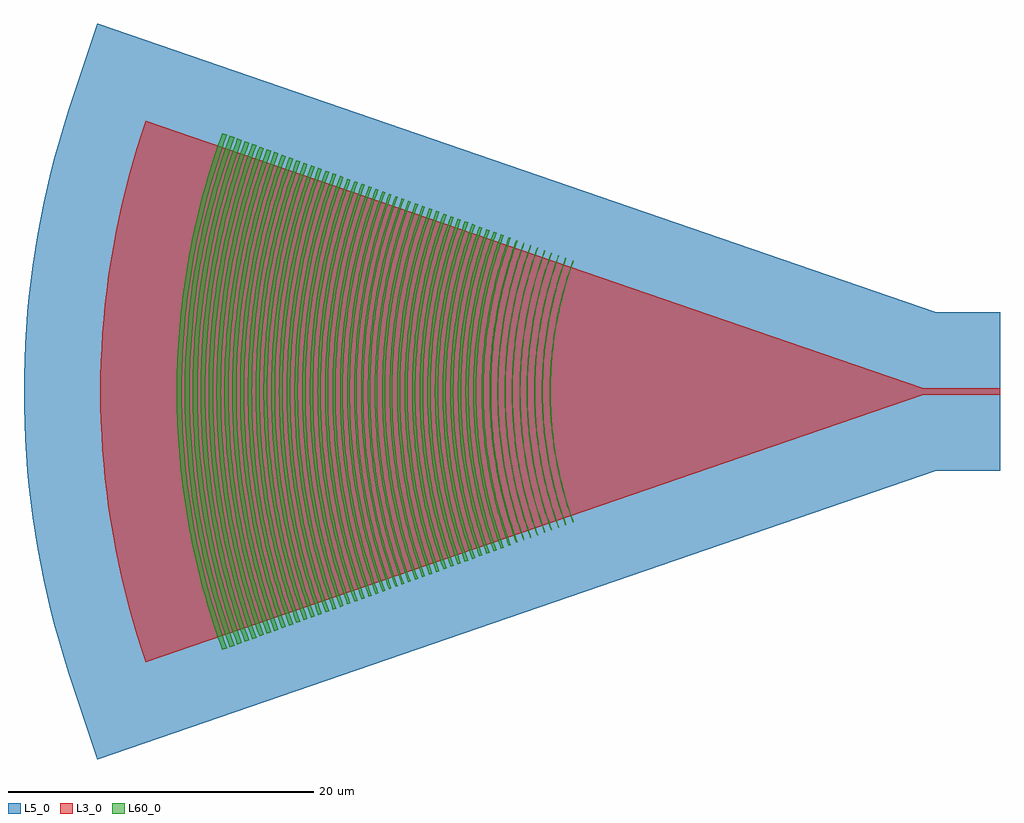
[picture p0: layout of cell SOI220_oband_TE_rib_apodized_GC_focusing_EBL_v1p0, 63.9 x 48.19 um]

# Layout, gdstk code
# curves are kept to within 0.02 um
import gdstk
lib = gdstk.Library(unit=1e-6, precision=1e-09)
def P(c, l, *ps):  # polygons
    for p in ps: c.add(gdstk.Polygon(p, *l))
L3_0 = (3, 0)
L5_0 = (5, 0)
L60_0 = (60, 0)

soi220_oband_te_rib_apod = lib.new_cell('SOI220_oband_TE_rib_apodized_GC_focusing_EBL_v1p0')
P(soi220_oband_te_rib_apod, L3_0, [(-55.936,-17.739),(-56.523,-15.93),(-57.286,-13.181),(-57.903,-10.396),(-58.233,-8.523),(-58.498,-6.64),(-58.697,-4.749),(-58.871,-1.901),(-58.904,0),(-58.871,1.901),(-58.697,4.749),(-58.498,6.64),(-58.233,8.523),(-57.903,10.396),(-57.286,13.181),(-56.523,15.93),(-55.936,17.739),(-5,0.2),(0,0.2),(0,-0.2),(-5,-0.2)])
P(soi220_oband_te_rib_apod, L5_0, [(-59.036,-24.094),(-59.096,-24.065),(-61.305,-17.392),(-62.137,-14.392),(-62.811,-11.35),(-63.325,-8.28),(-63.579,-6.218),(-63.822,-3.115),(-63.904,0),(-63.822,3.115),(-63.579,6.218),(-63.325,8.28),(-62.811,11.35),(-62.381,13.379),(-61.6,16.396),(-60.993,18.38),(-59.096,24.065),(-59.036,24.094),(-4.163,5.2),(0,5.2),(0,-5.2),(-4.163,-5.2)])
P(soi220_oband_te_rib_apod, L60_0, [(-27.967,-8.571),(-28.114,-8.159),(-28.319,-7.536),(-28.509,-6.908),(-28.625,-6.486),(-28.885,-5.424),(-29.019,-4.781),(-29.098,-4.351),(-29.203,-3.704),(-29.293,-3.054),(-29.384,-2.184),(-29.455,-1.093),(-29.479,0),(-29.455,1.093),(-29.384,2.184),(-29.293,3.054),(-29.203,3.704),(-29.098,4.351),(-29.019,4.781),(-28.885,5.424),(-28.625,6.486),(-28.509,6.908),(-28.319,7.536),(-28.114,8.159),(-27.967,8.571),(-27.911,8.551),(-28.127,7.933),(-28.327,7.309),(-28.51,6.681),(-28.676,6.048),(-28.873,5.198),(-29.076,4.126),(-29.233,3.047),(-29.324,2.179),(-29.395,1.09),(-29.419,0),(-29.395,-1.09),(-29.324,-2.179),(-29.233,-3.047),(-29.076,-4.126),(-28.873,-5.198),(-28.676,-6.048),(-28.51,-6.681),(-28.327,-7.309),(-28.127,-7.933),(-27.911,-8.551)],
  [(-28.455,-8.748),(-28.604,-8.328),(-28.813,-7.691),(-28.944,-7.265),(-29.125,-6.621),(-29.391,-5.536),(-29.484,-5.099),(-29.608,-4.441),(-29.716,-3.781),(-29.778,-3.339),(-29.833,-2.896),(-29.9,-2.229),(-29.973,-1.116),(-29.997,0),(-29.973,1.116),(-29.9,2.229),(-29.833,2.896),(-29.778,3.339),(-29.716,3.781),(-29.608,4.441),(-29.484,5.099),(-29.391,5.536),(-29.125,6.621),(-28.944,7.265),(-28.813,7.691),(-28.604,8.328),(-28.455,8.748),(-28.398,8.728),(-28.618,8.097),(-28.822,7.461),(-29.009,6.819),(-29.179,6.173),(-29.425,5.087),(-29.587,4.212),(-29.719,3.331),(-29.84,2.224),(-29.913,1.113),(-29.937,0),(-29.913,-1.113),(-29.84,-2.224),(-29.719,-3.331),(-29.587,-4.212),(-29.425,-5.087),(-29.179,-6.173),(-29.009,-6.819),(-28.822,-7.461),(-28.618,-8.097),(-28.398,-8.728)],
  [(-28.925,-8.919),(-29.291,-7.842),(-29.425,-7.407),(-29.609,-6.749),(-29.723,-6.31),(-29.88,-5.645),(-29.975,-5.199),(-30.102,-4.528),(-30.211,-3.855),(-30.304,-3.178),(-30.399,-2.273),(-30.435,-1.819),(-30.473,-1.138),(-30.489,-0.683),(-30.498,0),(-30.489,0.683),(-30.473,1.138),(-30.435,1.819),(-30.399,2.273),(-30.304,3.178),(-30.211,3.855),(-30.102,4.528),(-29.975,5.199),(-29.88,5.645),(-29.723,6.31),(-29.609,6.749),(-29.425,7.407),(-29.291,7.842),(-28.925,8.919),(-28.869,8.899),(-29.093,8.256),(-29.301,7.607),(-29.492,6.953),(-29.665,6.295),(-29.916,5.187),(-30.081,4.294),(-30.185,3.621),(-30.244,3.171),(-30.358,2.041),(-30.422,0.908),(-30.438,0),(-30.422,-0.908),(-30.358,-2.041),(-30.244,-3.171),(-30.185,-3.621),(-30.081,-4.294),(-29.916,-5.187),(-29.665,-6.295),(-29.492,-6.953),(-29.301,-7.607),(-29.093,-8.256),(-28.869,-8.899)],
  [(-29.387,-9.087),(-29.543,-8.651),(-29.76,-7.99),(-29.896,-7.547),(-30.085,-6.878),(-30.361,-5.751),(-30.502,-5.07),(-30.586,-4.614),(-30.663,-4.156),(-30.762,-3.468),(-30.82,-3.008),(-30.889,-2.316),(-30.941,-1.622),(-30.965,-1.159),(-30.981,-0.696),(-30.99,0),(-30.981,0.696),(-30.965,1.159),(-30.941,1.622),(-30.889,2.316),(-30.82,3.008),(-30.762,3.468),(-30.663,4.156),(-30.586,4.614),(-30.502,5.07),(-30.361,5.751),(-30.085,6.878),(-29.896,7.547),(-29.76,7.99),(-29.543,8.651),(-29.387,9.087),(-29.331,9.067),(-29.56,8.412),(-29.772,7.751),(-29.966,7.085),(-30.143,6.414),(-30.351,5.512),(-30.443,5.059),(-30.566,4.376),(-30.703,3.46),(-30.76,3.001),(-30.829,2.311),(-30.881,1.618),(-30.905,1.156),(-30.926,0.463),(-30.93,0),(-30.926,-0.463),(-30.905,-1.156),(-30.881,-1.618),(-30.829,-2.311),(-30.76,-3.001),(-30.703,-3.46),(-30.566,-4.376),(-30.443,-5.059),(-30.351,-5.512),(-30.143,-6.414),(-29.966,-7.085),(-29.772,-7.751),(-29.56,-8.412),(-29.331,-9.067)],
  [(-29.829,-9.248),(-30.062,-8.58),(-30.207,-8.131),(-30.346,-7.68),(-30.538,-6.999),(-30.656,-6.542),(-30.818,-5.853),(-30.916,-5.391),(-31.048,-4.695),(-31.162,-3.997),(-31.258,-3.295),(-31.356,-2.356),(-31.409,-1.651),(-31.433,-1.18),(-31.45,-0.708),(-31.459,0),(-31.45,0.708),(-31.433,1.18),(-31.409,1.651),(-31.356,2.356),(-31.258,3.295),(-31.162,3.997),(-31.048,4.695),(-30.916,5.391),(-30.818,5.853),(-30.656,6.542),(-30.538,6.999),(-30.346,7.68),(-30.207,8.131),(-30.062,8.58),(-29.829,9.248),(-29.772,9.228),(-30.005,8.561),(-30.22,7.888),(-30.418,7.21),(-30.598,6.527),(-30.708,6.069),(-30.857,5.379),(-31.029,4.453),(-31.103,3.988),(-31.198,3.288),(-31.275,2.586),(-31.316,2.117),(-31.349,1.647),(-31.383,0.942),(-31.399,0),(-31.383,-0.942),(-31.349,-1.647),(-31.316,-2.117),(-31.275,-2.586),(-31.198,-3.288),(-31.103,-3.988),(-31.029,-4.453),(-30.857,-5.379),(-30.708,-6.069),(-30.598,-6.527),(-30.418,-7.21),(-30.22,-7.888),(-30.005,-8.561),(-29.772,-9.228)],
  [(-30.302,-9.421),(-30.464,-8.967),(-30.689,-8.283),(-30.83,-7.823),(-31.025,-7.13),(-31.146,-6.663),(-31.311,-5.962),(-31.458,-5.256),(-31.545,-4.783),(-31.625,-4.309),(-31.728,-3.596),(-31.787,-3.118),(-31.859,-2.4),(-31.913,-1.682),(-31.938,-1.202),(-31.955,-0.721),(-31.964,0),(-31.955,0.721),(-31.938,1.202),(-31.913,1.682),(-31.859,2.4),(-31.787,3.118),(-31.728,3.596),(-31.625,4.309),(-31.545,4.783),(-31.458,5.256),(-31.311,5.962),(-31.146,6.663),(-31.025,7.13),(-30.83,7.823),(-30.689,8.283),(-30.464,8.967),(-30.302,9.421),(-30.246,9.4),(-30.484,8.721),(-30.703,8.036),(-30.904,7.345),(-31.088,6.649),(-31.2,6.183),(-31.352,5.48),(-31.527,4.536),(-31.637,3.825),(-31.699,3.35),(-31.753,2.873),(-31.819,2.156),(-31.878,1.199),(-31.895,0.719),(-31.904,0),(-31.895,-0.719),(-31.878,-1.199),(-31.819,-2.156),(-31.753,-2.873),(-31.699,-3.35),(-31.637,-3.825),(-31.527,-4.536),(-31.352,-5.48),(-31.2,-6.183),(-31.088,-6.649),(-30.904,-7.345),(-30.703,-8.036),(-30.484,-8.721),(-30.246,-9.4)],
  [(-30.744,-9.581),(-30.908,-9.12),(-31.137,-8.424),(-31.281,-7.957),(-31.479,-7.251),(-31.602,-6.778),(-31.77,-6.064),(-31.872,-5.585),(-32.008,-4.864),(-32.089,-4.382),(-32.194,-3.657),(-32.281,-2.928),(-32.328,-2.441),(-32.382,-1.711),(-32.407,-1.222),(-32.43,-0.489),(-32.434,0),(-32.43,0.489),(-32.407,1.222),(-32.382,1.711),(-32.328,2.441),(-32.281,2.928),(-32.194,3.657),(-32.089,4.382),(-32.008,4.864),(-31.872,5.585),(-31.77,6.064),(-31.602,6.778),(-31.479,7.251),(-31.281,7.957),(-31.137,8.424),(-30.908,9.12),(-30.744,9.581),(-30.688,9.561),(-30.929,8.87),(-31.152,8.173),(-31.357,7.471),(-31.544,6.763),(-31.658,6.289),(-31.813,5.573),(-31.991,4.614),(-32.102,3.891),(-32.166,3.407),(-32.268,2.436),(-32.322,1.707),(-32.347,1.219),(-32.37,0.488),(-32.374,0),(-32.37,-0.488),(-32.347,-1.219),(-32.322,-1.707),(-32.268,-2.436),(-32.166,-3.407),(-32.102,-3.891),(-31.991,-4.614),(-31.813,-5.573),(-31.658,-6.289),(-31.544,-6.763),(-31.357,-7.471),(-31.152,-8.173),(-30.929,-8.87),(-30.688,-9.561)],
  [(-31.193,-9.744),(-31.359,-9.277),(-31.592,-8.568),(-31.808,-7.853),(-31.94,-7.374),(-32.124,-6.652),(-32.289,-5.924),(-32.478,-4.948),(-32.598,-4.211),(-32.667,-3.719),(-32.728,-3.225),(-32.803,-2.483),(-32.842,-1.987),(-32.884,-1.243),(-32.907,-0.497),(-32.911,0),(-32.907,0.497),(-32.884,1.243),(-32.842,1.987),(-32.803,2.483),(-32.728,3.225),(-32.667,3.719),(-32.598,4.211),(-32.478,4.948),(-32.289,5.924),(-32.124,6.652),(-31.94,7.374),(-31.808,7.853),(-31.592,8.568),(-31.359,9.277),(-31.193,9.744),(-31.134,9.723),(-31.379,9.021),(-31.606,8.312),(-31.814,7.597),(-32.004,6.878),(-32.227,5.911),(-32.326,5.425),(-32.458,4.692),(-32.605,3.711),(-32.74,2.478),(-32.779,1.983),(-32.821,1.24),(-32.844,0.496),(-32.848,0),(-32.844,-0.496),(-32.821,-1.24),(-32.779,-1.983),(-32.74,-2.478),(-32.605,-3.711),(-32.458,-4.692),(-32.326,-5.425),(-32.227,-5.911),(-32.004,-6.878),(-31.814,-7.597),(-31.606,-8.312),(-31.379,-9.021),(-31.134,-9.723)],
  [(-31.673,-9.919),(-32.079,-8.721),(-32.434,-7.507),(-32.735,-6.278),(-32.981,-5.036),(-33.174,-3.786),(-33.312,-2.528),(-33.394,-1.265),(-33.422,0),(-33.394,1.265),(-33.312,2.528),(-33.174,3.786),(-32.981,5.036),(-32.735,6.278),(-32.434,7.507),(-32.079,8.721),(-31.673,9.919),(-31.579,9.885),(-31.984,8.691),(-32.337,7.481),(-32.637,6.256),(-32.926,4.77),(-33.107,3.522),(-33.233,2.268),(-33.304,1.009),(-33.322,0),(-33.304,-1.009),(-33.233,-2.268),(-33.107,-3.522),(-32.926,-4.77),(-32.637,-6.256),(-32.337,-7.481),(-31.984,-8.691),(-31.579,-9.885)],
  [(-32.162,-10.097),(-32.577,-8.878),(-32.937,-7.642),(-33.243,-6.39),(-33.494,-5.127),(-33.691,-3.854),(-33.831,-2.573),(-33.915,-1.288),(-33.943,0),(-33.915,1.288),(-33.831,2.573),(-33.691,3.854),(-33.494,5.127),(-33.243,6.39),(-32.937,7.642),(-32.577,8.878),(-32.162,10.097),(-32.04,10.053),(-32.453,8.839),(-32.877,7.36),(-33.171,6.111),(-33.41,4.851),(-33.562,3.837),(-33.701,2.562),(-33.785,1.282),(-33.813,0),(-33.785,-1.282),(-33.701,-2.562),(-33.562,-3.837),(-33.41,-4.851),(-33.171,-6.111),(-32.877,-7.36),(-32.453,-8.839),(-32.04,-10.053)],
  [(-32.678,-10.284),(-33.019,-9.293),(-33.398,-8.037),(-33.778,-6.509),(-34.034,-5.222),(-34.233,-3.925),(-34.376,-2.621),(-34.463,-1.312),(-34.491,0),(-34.463,1.312),(-34.376,2.621),(-34.233,3.925),(-34.034,5.222),(-33.778,6.509),(-33.398,8.037),(-33.019,9.293),(-32.678,10.284),(-32.489,10.216),(-32.985,8.733),(-33.339,7.479),(-33.637,6.211),(-33.922,4.673),(-34.098,3.381),(-34.198,2.344),(-34.262,1.303),(-34.29,0),(-34.262,-1.303),(-34.198,-2.344),(-34.098,-3.381),(-33.922,-4.673),(-33.637,-6.211),(-33.339,-7.479),(-32.985,-8.733),(-32.489,-10.216)],
  [(-33.157,-10.458),(-33.586,-9.196),(-33.959,-7.915),(-34.276,-6.618),(-34.537,-5.31),(-34.739,-3.993),(-34.884,-2.666),(-34.972,-1.335),(-35.001,0),(-34.972,1.335),(-34.884,2.666),(-34.739,3.993),(-34.537,5.31),(-34.276,6.618),(-33.959,7.915),(-33.586,9.196),(-33.157,10.458),(-32.954,10.386),(-33.38,9.131),(-33.818,7.603),(-34.175,6.054),(-34.411,4.75),(-34.559,3.701),(-34.691,2.382),(-34.767,1.06),(-34.785,0),(-34.767,-1.06),(-34.691,-2.382),(-34.559,-3.701),(-34.411,-4.75),(-34.175,-6.054),(-33.818,-7.603),(-33.38,-9.131),(-32.954,-10.386)],
  [(-33.622,-10.628),(-34.058,-9.345),(-34.437,-8.043),(-34.759,-6.726),(-35.024,-5.396),(-35.23,-4.057),(-35.378,-2.709),(-35.467,-1.355),(-35.496,0),(-35.467,1.355),(-35.378,2.709),(-35.23,4.057),(-35.024,5.396),(-34.759,6.726),(-34.437,8.043),(-34.058,9.345),(-33.622,10.628),(-33.422,10.556),(-33.855,9.281),(-34.3,7.728),(-34.609,6.417),(-34.903,4.828),(-35.085,3.494),(-35.188,2.422),(-35.254,1.346),(-35.283,0),(-35.254,-1.346),(-35.188,-2.422),(-35.085,-3.494),(-34.903,-4.828),(-34.609,-6.417),(-34.3,-7.728),(-33.855,-9.281),(-33.422,-10.556)],
  [(-34.091,-10.8),(-34.534,-9.495),(-34.92,-8.173),(-35.248,-6.835),(-35.516,-5.484),(-35.726,-4.121),(-35.876,-2.752),(-35.966,-1.377),(-35.996,0),(-35.966,1.377),(-35.876,2.752),(-35.726,4.121),(-35.516,5.484),(-35.248,6.835),(-34.92,8.173),(-34.534,9.495),(-34.091,10.8),(-33.893,10.728),(-34.333,9.432),(-34.786,7.853),(-35.1,6.521),(-35.399,4.907),(-35.551,3.823),(-35.688,2.461),(-35.766,1.095),(-35.785,0),(-35.766,-1.095),(-35.688,-2.461),(-35.551,-3.823),(-35.399,-4.907),(-35.1,-6.521),(-34.786,-7.853),(-34.333,-9.432),(-33.893,-10.728)],
  [(-34.562,-10.97),(-35.011,-9.646),(-35.403,-8.302),(-35.736,-6.943),(-36.009,-5.571),(-36.221,-4.187),(-36.374,-2.796),(-36.466,-1.4),(-36.496,0),(-36.466,1.4),(-36.374,2.796),(-36.221,4.187),(-36.009,5.571),(-35.736,6.943),(-35.403,8.302),(-35.011,9.646),(-34.562,10.97),(-34.359,10.897),(-34.888,9.315),(-35.265,7.977),(-35.584,6.624),(-35.888,4.984),(-36.043,3.883),(-36.182,2.5),(-36.261,1.112),(-36.28,0),(-36.261,-1.112),(-36.182,-2.5),(-36.043,-3.883),(-35.888,-4.984),(-35.584,-6.624),(-35.265,-7.977),(-34.888,-9.315),(-34.359,-10.897)],
  [(-35.031,-11.142),(-35.488,-9.796),(-35.886,-8.431),(-36.224,-7.051),(-36.501,-5.657),(-36.717,-4.252),(-36.872,-2.839),(-36.965,-1.421),(-36.996,0),(-36.965,1.421),(-36.872,2.839),(-36.717,4.252),(-36.501,5.657),(-36.224,7.051),(-35.886,8.431),(-35.488,9.796),(-35.031,11.142),(-34.827,11.068),(-35.365,9.461),(-35.748,8.102),(-36.072,6.728),(-36.381,5.062),(-36.538,3.944),(-36.679,2.539),(-36.748,1.412),(-36.779,0),(-36.748,-1.412),(-36.679,-2.539),(-36.538,-3.944),(-36.381,-5.062),(-36.072,-6.728),(-35.748,-8.102),(-35.365,-9.461),(-34.827,-11.068)],
  [(-35.501,-11.312),(-35.965,-9.946),(-36.369,-8.561),(-36.712,-7.16),(-36.994,-5.744),(-37.213,-4.318),(-37.37,-2.883),(-37.465,-1.443),(-37.496,0),(-37.465,1.443),(-37.37,2.883),(-37.213,4.318),(-36.994,5.744),(-36.712,7.16),(-36.369,8.561),(-35.965,9.946),(-35.501,11.312),(-35.294,11.238),(-35.755,9.88),(-36.229,8.227),(-36.558,6.831),(-36.871,5.14),(-37.065,3.72),(-37.175,2.578),(-37.245,1.433),(-37.276,0),(-37.245,-1.433),(-37.175,-2.578),(-37.065,-3.72),(-36.871,-5.14),(-36.558,-6.831),(-36.229,-8.227),(-35.755,-9.88),(-35.294,-11.238)],
  [(-35.971,-11.483),(-36.442,-10.097),(-36.852,-8.69),(-37.2,-7.267),(-37.486,-5.831),(-37.709,-4.383),(-37.868,-2.926),(-37.964,-1.465),(-37.996,0),(-37.964,1.465),(-37.868,2.926),(-37.709,4.383),(-37.486,5.831),(-37.2,7.267),(-36.852,8.69),(-36.442,10.097),(-35.971,11.483),(-35.765,11.409),(-36.233,10.031),(-36.714,8.352),(-37.048,6.936),(-37.366,5.218),(-37.563,3.776),(-37.674,2.617),(-37.757,1.164),(-37.777,0),(-37.757,-1.164),(-37.674,-2.617),(-37.563,-3.776),(-37.366,-5.218),(-37.048,-6.936),(-36.714,-8.352),(-36.233,-10.031),(-35.765,-11.409)],
  [(-36.436,-11.653),(-36.914,-10.246),(-37.33,-8.819),(-37.683,-7.375),(-37.974,-5.916),(-38.199,-4.447),(-38.361,-2.97),(-38.459,-1.486),(-38.491,0),(-38.459,1.486),(-38.361,2.97),(-38.199,4.447),(-37.974,5.916),(-37.683,7.375),(-37.33,8.819),(-36.914,10.246),(-36.436,11.653),(-36.234,11.58),(-36.797,9.899),(-37.198,8.477),(-37.536,7.039),(-37.859,5.296),(-38.024,4.126),(-38.172,2.656),(-38.244,1.477),(-38.276,0),(-38.244,-1.477),(-38.172,-2.656),(-38.024,-4.126),(-37.859,-5.296),(-37.536,-7.039),(-37.198,-8.477),(-36.797,-9.899),(-36.234,-11.58)],
  [(-36.9,-11.821),(-37.384,-10.394),(-37.806,-8.946),(-38.164,-7.481),(-38.459,-6.002),(-38.688,-4.512),(-38.852,-3.012),(-38.951,-1.508),(-38.984,0),(-38.951,1.508),(-38.852,3.012),(-38.688,4.512),(-38.459,6.002),(-38.164,7.481),(-37.806,8.946),(-37.384,10.394),(-36.9,11.821),(-36.712,11.754),(-37.193,10.334),(-37.689,8.604),(-38.033,7.145),(-38.361,5.376),(-38.528,4.188),(-38.678,2.696),(-38.763,1.199),(-38.784,0),(-38.763,-1.199),(-38.678,-2.696),(-38.528,-4.188),(-38.361,-5.376),(-38.033,-7.145),(-37.689,-8.604),(-37.193,-10.334),(-36.712,-11.754)],
  [(-37.361,-11.989),(-37.853,-10.541),(-38.28,-9.073),(-38.644,-7.587),(-38.942,-6.088),(-39.175,-4.575),(-39.341,-3.056),(-39.442,-1.529),(-39.475,0),(-39.442,1.529),(-39.341,3.056),(-39.175,4.575),(-38.942,6.088),(-38.644,7.587),(-38.28,9.073),(-37.853,10.541),(-37.361,11.989),(-37.172,11.921),(-37.661,10.481),(-38.164,8.727),(-38.574,6.949),(-38.845,5.453),(-39.05,3.946),(-39.167,2.735),(-39.253,1.216),(-39.274,0),(-39.253,-1.216),(-39.167,-2.735),(-39.05,-3.946),(-38.845,-5.453),(-38.574,-6.949),(-38.164,-8.727),(-37.661,-10.481),(-37.172,-11.921)],
  [(-37.815,-12.155),(-38.313,-10.686),(-38.747,-9.198),(-39.115,-7.692),(-39.419,-6.172),(-39.654,-4.638),(-39.822,-3.097),(-39.924,-1.55),(-39.958,0),(-39.924,1.55),(-39.822,3.097),(-39.654,4.638),(-39.419,6.172),(-39.115,7.692),(-38.747,9.198),(-38.313,10.686),(-37.815,12.155),(-37.66,12.099),(-38.156,10.637),(-38.588,9.155),(-39.02,7.355),(-39.308,5.838),(-39.529,4.311),(-39.684,2.775),(-39.759,1.543),(-39.793,0),(-39.759,-1.543),(-39.684,-2.775),(-39.529,-4.311),(-39.308,-5.838),(-39.02,-7.355),(-38.588,-9.155),(-38.156,-10.637),(-37.66,-12.099)],
  [(-38.276,-12.323),(-38.781,-10.835),(-39.222,-9.325),(-39.595,-7.798),(-39.901,-6.256),(-40.14,-4.703),(-40.312,-3.14),(-40.415,-1.572),(-40.449,0),(-40.415,1.572),(-40.312,3.14),(-40.14,4.703),(-39.901,6.256),(-39.595,7.798),(-39.222,9.325),(-38.781,10.835),(-38.276,12.323),(-38.102,12.26),(-38.698,10.48),(-39.122,8.975),(-39.481,7.453),(-39.823,5.607),(-40.034,4.058),(-40.154,2.812),(-40.23,1.564),(-40.264,0),(-40.23,-1.564),(-40.154,-2.812),(-40.034,-4.058),(-39.823,-5.607),(-39.481,-7.453),(-39.122,-8.975),(-38.698,-10.48),(-38.102,-12.26)],
  [(-38.733,-12.489),(-39.245,-10.981),(-39.691,-9.451),(-40.069,-7.903),(-40.381,-6.341),(-40.623,-4.766),(-40.796,-3.182),(-40.9,-1.593),(-40.935,0),(-40.9,1.593),(-40.796,3.182),(-40.623,4.766),(-40.381,6.341),(-40.069,7.903),(-39.691,9.451),(-39.245,10.981),(-38.733,12.489),(-38.589,12.437),(-39.099,10.935),(-39.624,9.105),(-39.987,7.56),(-40.283,6.002),(-40.471,4.746),(-40.644,3.169),(-40.747,1.586),(-40.782,0),(-40.747,-1.586),(-40.644,-3.169),(-40.471,-4.746),(-40.283,-6.002),(-39.987,-7.56),(-39.624,-9.105),(-39.099,-10.935),(-38.589,-12.437)],
  [(-39.16,-12.643),(-39.678,-11.117),(-40.13,-9.568),(-40.512,-8.002),(-40.828,-6.42),(-41.073,-4.825),(-41.248,-3.222),(-41.354,-1.613),(-41.389,0),(-41.354,1.613),(-41.248,3.222),(-41.073,4.825),(-40.828,6.42),(-40.512,8.002),(-40.13,9.568),(-39.678,11.117),(-39.16,12.643),(-39.014,12.591),(-39.53,11.07),(-39.98,9.528),(-40.43,7.654),(-40.729,6.076),(-40.96,4.487),(-41.121,2.888),(-41.212,1.285),(-41.234,0),(-41.212,-1.285),(-41.121,-2.888),(-40.96,-4.487),(-40.729,-6.076),(-40.43,-7.654),(-39.98,-9.528),(-39.53,-11.07),(-39.014,-12.591)],
  [(-39.579,-12.796),(-40.103,-11.251),(-40.56,-9.684),(-40.948,-8.098),(-41.267,-6.497),(-41.515,-4.883),(-41.692,-3.261),(-41.8,-1.632),(-41.835,0),(-41.8,1.632),(-41.692,3.261),(-41.515,4.883),(-41.267,6.497),(-40.948,8.098),(-40.56,9.684),(-40.103,11.251),(-39.579,12.796),(-39.439,12.746),(-40.058,10.896),(-40.499,9.331),(-40.872,7.748),(-41.175,6.151),(-41.408,4.542),(-41.571,2.924),(-41.651,1.626),(-41.686,0),(-41.651,-1.626),(-41.571,-2.924),(-41.408,-4.542),(-41.175,-6.151),(-40.872,-7.748),(-40.499,-9.331),(-40.058,-10.896),(-39.439,-12.746)],
  [(-39.997,-12.949),(-40.528,-11.385),(-40.99,-9.799),(-41.382,-8.195),(-41.705,-6.574),(-41.956,-4.941),(-42.136,-3.3),(-42.244,-1.652),(-42.28,0),(-42.244,1.652),(-42.136,3.3),(-41.956,4.941),(-41.705,6.574),(-41.382,8.195),(-40.99,9.799),(-40.528,11.385),(-39.997,12.949),(-39.85,12.896),(-40.379,11.338),(-40.923,9.441),(-41.3,7.839),(-41.607,6.223),(-41.843,4.595),(-41.981,3.286),(-42.088,1.645),(-42.124,0),(-42.088,-1.645),(-41.981,-3.286),(-41.843,-4.595),(-41.607,-6.223),(-41.3,-7.839),(-40.923,-9.441),(-40.379,-11.338),(-39.85,-12.896)],
  [(-40.428,-13.106),(-40.965,-11.523),(-41.433,-9.918),(-41.831,-8.294),(-42.156,-6.655),(-42.412,-5.001),(-42.593,-3.34),(-42.703,-1.671),(-42.739,0),(-42.703,1.671),(-42.593,3.34),(-42.412,5.001),(-42.156,6.655),(-41.831,8.294),(-41.433,9.918),(-40.965,11.523),(-40.428,13.106),(-40.267,13.048),(-40.901,11.154),(-41.353,9.552),(-41.734,7.932),(-42.045,6.296),(-42.284,4.649),(-42.423,3.325),(-42.532,1.664),(-42.568,0),(-42.532,-1.664),(-42.423,-3.325),(-42.284,-4.649),(-42.045,-6.296),(-41.734,-7.932),(-41.353,-9.552),(-40.901,-11.154),(-40.267,-13.048)],
  [(-40.873,-13.268),(-41.418,-11.666),(-41.891,-10.04),(-42.294,-8.397),(-42.623,-6.736),(-42.881,-5.063),(-43.065,-3.382),(-43.176,-1.692),(-43.213,0),(-43.176,1.692),(-43.065,3.382),(-42.881,5.063),(-42.623,6.736),(-42.294,8.397),(-41.891,10.04),(-41.418,11.666),(-40.873,13.268),(-40.705,13.207),(-41.347,11.29),(-41.804,9.668),(-42.259,7.699),(-42.559,6.041),(-42.786,4.371),(-42.915,3.03),(-42.997,1.684),(-43.034,0),(-42.997,-1.684),(-42.915,-3.03),(-42.786,-4.371),(-42.559,-6.041),(-42.259,-7.699),(-41.804,-9.668),(-41.347,-11.29),(-40.705,-13.207)],
  [(-41.329,-13.433),(-41.879,-11.811),(-42.358,-10.166),(-42.766,-8.502),(-43.1,-6.82),(-43.361,-5.127),(-43.547,-3.423),(-43.66,-1.713),(-43.697,0),(-43.66,1.713),(-43.547,3.423),(-43.361,5.127),(-43.1,6.82),(-42.766,8.502),(-42.358,10.166),(-41.879,11.811),(-41.329,13.433),(-41.147,13.368),(-41.695,11.753),(-42.259,9.786),(-42.65,8.126),(-43.023,6.114),(-43.213,4.763),(-43.384,3.067),(-43.467,1.705),(-43.504,0),(-43.467,-1.705),(-43.384,-3.067),(-43.213,-4.763),(-43.023,-6.114),(-42.65,-8.126),(-42.259,-9.786),(-41.695,-11.753),(-41.147,-13.368)],
  [(-41.793,-13.601),(-42.35,-11.96),(-42.836,-10.294),(-43.248,-8.608),(-43.587,-6.907),(-43.85,-5.191),(-44.039,-3.466),(-44.153,-1.735),(-44.191,0),(-44.153,1.735),(-44.039,3.466),(-43.85,5.191),(-43.587,6.907),(-43.248,8.608),(-42.836,10.294),(-42.35,11.96),(-41.793,13.601),(-41.605,13.534),(-42.262,11.57),(-42.731,9.908),(-43.197,7.889),(-43.504,6.19),(-43.737,4.48),(-43.869,3.105),(-43.967,1.381),(-43.991,0),(-43.967,-1.381),(-43.869,-3.105),(-43.737,-4.48),(-43.504,-6.19),(-43.197,-7.889),(-42.731,-9.908),(-42.262,-11.57),(-41.605,-13.534)],
  [(-42.26,-13.772),(-42.824,-12.109),(-43.316,-10.422),(-43.733,-8.716),(-44.076,-6.992),(-44.343,-5.256),(-44.535,-3.509),(-44.65,-1.756),(-44.688,0),(-44.65,1.756),(-44.535,3.509),(-44.343,5.256),(-44.076,6.992),(-43.733,8.716),(-43.316,10.422),(-42.824,12.109),(-42.26,13.772),(-42.063,13.701),(-42.729,11.712),(-43.203,10.03),(-43.604,8.329),(-43.986,6.267),(-44.18,4.882),(-44.356,3.143),(-44.455,1.398),(-44.479,0),(-44.455,-1.398),(-44.356,-3.143),(-44.18,-4.882),(-43.986,-6.267),(-43.604,-8.329),(-43.203,-10.03),(-42.729,-11.712),(-42.063,-13.701)],
  [(-42.73,-13.943),(-43.302,-12.26),(-43.8,-10.552),(-44.223,-8.824),(-44.57,-7.08),(-44.84,-5.321),(-45.034,-3.554),(-45.15,-1.778),(-45.189,0),(-45.15,1.778),(-45.034,3.554),(-44.84,5.321),(-44.57,7.08),(-44.223,8.824),(-43.8,10.552),(-43.302,12.26),(-42.73,13.943),(-42.527,13.87),(-43.201,11.857),(-43.681,10.154),(-44.087,8.432),(-44.474,6.344),(-44.671,4.942),(-44.848,3.182),(-44.948,1.415),(-44.973,0),(-44.948,-1.415),(-44.848,-3.182),(-44.671,-4.942),(-44.474,-6.344),(-44.087,-8.432),(-43.681,-10.154),(-43.201,-11.857),(-42.527,-13.87)],
  [(-43.203,-14.115),(-43.782,-12.411),(-44.285,-10.683),(-44.714,-8.933),(-45.065,-7.167),(-45.339,-5.387),(-45.535,-3.597),(-45.653,-1.801),(-45.692,0),(-45.653,1.801),(-45.535,3.597),(-45.339,5.387),(-45.065,7.167),(-44.714,8.933),(-44.285,10.683),(-43.782,12.411),(-43.203,14.115),(-42.993,14.04),(-43.569,12.344),(-44.161,10.278),(-44.572,8.535),(-44.964,6.422),(-45.163,5.003),(-45.342,3.221),(-45.43,1.791),(-45.469,0),(-45.43,-1.791),(-45.342,-3.221),(-45.163,-5.003),(-44.964,-6.422),(-44.572,-8.535),(-44.161,-10.278),(-43.569,-12.344),(-42.993,-14.04)],
  [(-43.677,-14.288),(-44.263,-12.563),(-44.773,-10.813),(-45.207,-9.043),(-45.563,-7.255),(-45.84,-5.453),(-46.038,-3.641),(-46.157,-1.822),(-46.197,0),(-46.157,1.822),(-46.038,3.641),(-45.84,5.453),(-45.563,7.255),(-45.207,9.043),(-44.773,10.813),(-44.263,12.563),(-43.677,14.288),(-43.461,14.21),(-44.152,12.147),(-44.644,10.403),(-45.133,8.283),(-45.455,6.5),(-45.7,4.703),(-45.839,3.26),(-45.942,1.45),(-45.967,0),(-45.942,-1.45),(-45.839,-3.26),(-45.7,-4.703),(-45.455,-6.5),(-45.133,-8.283),(-44.644,-10.403),(-44.152,-12.147),(-43.461,-14.21)],
  [(-44.152,-14.461),(-44.745,-12.715),(-45.261,-10.944),(-45.699,-9.152),(-46.059,-7.342),(-46.34,-5.519),(-46.541,-3.686),(-46.662,-1.844),(-46.702,0),(-46.662,1.844),(-46.541,3.686),(-46.34,5.519),(-46.059,7.342),(-45.699,9.152),(-45.261,10.944),(-44.745,12.715),(-44.152,14.461),(-43.93,14.381),(-44.52,12.644),(-45.127,10.528),(-45.622,8.383),(-45.948,6.578),(-46.153,5.124),(-46.336,3.299),(-46.426,1.834),(-46.466,0),(-46.426,-1.834),(-46.336,-3.299),(-46.153,-5.124),(-45.948,-6.578),(-45.622,-8.383),(-45.127,-10.528),(-44.52,-12.644),(-43.93,-14.381)],
  [(-44.629,-14.634),(-45.229,-12.867),(-45.751,-11.075),(-46.194,-9.261),(-46.559,-7.43),(-46.843,-5.585),(-47.046,-3.729),(-47.169,-1.866),(-47.209,0),(-47.169,1.866),(-47.046,3.729),(-46.843,5.585),(-46.559,7.43),(-46.194,9.261),(-45.751,11.075),(-45.229,12.867),(-44.629,14.634),(-44.4,14.552),(-45.107,12.44),(-45.611,10.653),(-46.112,8.483),(-46.442,6.656),(-46.693,4.816),(-46.835,3.338),(-46.926,1.856),(-46.966,0),(-46.926,-1.856),(-46.835,-3.338),(-46.693,-4.816),(-46.442,-6.656),(-46.112,-8.483),(-45.611,-10.653),(-45.107,-12.44),(-44.4,-14.552)],
  [(-45.106,-14.808),(-45.713,-13.02),(-46.241,-11.207),(-46.691,-9.371),(-47.059,-7.519),(-47.347,-5.652),(-47.552,-3.774),(-47.676,-1.889),(-47.717,0),(-47.676,1.889),(-47.552,3.774),(-47.347,5.652),(-47.059,7.519),(-46.691,9.371),(-46.241,11.207),(-45.713,13.02),(-45.106,14.808),(-44.871,14.723),(-45.475,12.945),(-46.096,10.778),(-46.603,8.582),(-46.937,6.734),(-47.146,5.246),(-47.334,3.378),(-47.441,1.502),(-47.467,0),(-47.441,-1.502),(-47.334,-3.378),(-47.146,-5.246),(-46.937,-6.734),(-46.603,-8.582),(-46.096,-10.778),(-45.475,-12.945),(-44.871,-14.723)],
  [(-45.585,-14.982),(-46.198,-13.173),(-46.733,-11.339),(-47.188,-9.481),(-47.56,-7.607),(-47.851,-5.717),(-48.059,-3.818),(-48.185,-1.911),(-48.226,0),(-48.185,1.911),(-48.059,3.818),(-47.851,5.717),(-47.56,7.607),(-47.188,9.481),(-46.733,11.339),(-46.198,13.173),(-45.585,14.982),(-45.343,14.895),(-46.066,12.733),(-46.582,10.904),(-47.095,8.682),(-47.433,6.813),(-47.689,4.93),(-47.835,3.417),(-47.928,1.9),(-47.969,0),(-47.928,-1.9),(-47.835,-3.417),(-47.689,-4.93),(-47.433,-6.813),(-47.095,-8.682),(-46.582,-10.904),(-46.066,-12.733),(-45.343,-14.895)],
  [(-46.063,-15.156),(-46.685,-13.326),(-47.226,-11.47),(-47.686,-9.592),(-48.063,-7.696),(-48.357,-5.785),(-48.567,-3.862),(-48.694,-1.933),(-48.736,0),(-48.694,1.933),(-48.567,3.862),(-48.357,5.785),(-48.063,7.696),(-47.686,9.592),(-47.226,11.47),(-46.685,13.326),(-46.063,15.156),(-45.815,15.067),(-46.433,13.247),(-47.069,11.03),(-47.588,8.783),(-47.93,6.891),(-48.144,5.369),(-48.336,3.456),(-48.43,1.922),(-48.472,0),(-48.43,-1.922),(-48.336,-3.456),(-48.144,-5.369),(-47.93,-6.891),(-47.588,-8.783),(-47.069,-11.03),(-46.547,-12.88),(-45.815,-15.067)],
  [(-46.545,-15.331),(-47.173,-13.481),(-47.721,-11.602),(-48.186,-9.703),(-48.567,-7.784),(-48.865,-5.852),(-49.077,-3.907),(-49.206,-1.956),(-49.248,0),(-49.206,1.956),(-49.077,3.907),(-48.865,5.852),(-48.567,7.784),(-48.186,9.703),(-47.721,11.602),(-47.173,13.481),(-46.545,15.331),(-46.29,15.24),(-46.915,13.399),(-47.558,11.156),(-48.003,9.264),(-48.428,6.97),(-48.691,5.044),(-48.84,3.496),(-48.935,1.944),(-48.977,0),(-48.935,-1.944),(-48.84,-3.496),(-48.691,-5.044),(-48.428,-6.97),(-48.003,-9.264),(-47.558,-11.156),(-46.915,-13.399),(-46.29,-15.24)],
  [(-47.027,-15.507),(-47.662,-13.635),(-48.215,-11.735),(-48.686,-9.814),(-49.072,-7.873),(-49.373,-5.918),(-49.589,-3.952),(-49.718,-1.978),(-49.761,0),(-49.718,1.978),(-49.589,3.952),(-49.373,5.918),(-49.072,7.873),(-48.686,9.814),(-48.215,11.735),(-47.662,13.635),(-47.027,15.507),(-46.765,15.413),(-47.514,13.175),(-48.048,11.283),(-48.498,9.369),(-48.928,7.05),(-49.147,5.492),(-49.344,3.536),(-49.456,1.573),(-49.483,0),(-49.456,-1.573),(-49.344,-3.536),(-49.147,-5.492),(-48.928,-7.05),(-48.498,-9.369),(-48.048,-11.283),(-47.514,-13.175),(-46.765,-15.413)],
  [(-47.51,-15.682),(-48.153,-13.789),(-48.712,-11.869),(-49.188,-9.925),(-49.579,-7.962),(-49.883,-5.985),(-50.101,-3.997),(-50.232,-2),(-50.275,0),(-50.232,2),(-50.101,3.997),(-49.883,5.985),(-49.579,7.962),(-49.188,9.925),(-48.712,11.869),(-48.153,13.789),(-47.51,15.682),(-47.242,15.586),(-47.999,13.324),(-48.538,11.41),(-48.994,9.475),(-49.429,7.129),(-49.697,5.159),(-49.85,3.575),(-49.947,1.988),(-49.99,0),(-49.947,-1.988),(-49.85,-3.575),(-49.697,-5.159),(-49.429,-7.129),(-48.994,-9.475),(-48.538,-11.41),(-47.999,-13.324),(-47.242,-15.586)],
  [(-47.994,-15.859),(-48.643,-13.944),(-49.21,-12.002),(-49.691,-10.036),(-50.086,-8.053),(-50.394,-6.053),(-50.614,-4.041),(-50.746,-2.023),(-50.79,0),(-50.746,2.023),(-50.614,4.041),(-50.394,6.053),(-50.086,8.053),(-49.691,10.036),(-49.21,12.002),(-48.643,13.944),(-47.994,15.859),(-47.719,15.76),(-48.485,13.472),(-49.03,11.537),(-49.573,9.187),(-49.931,7.208),(-50.155,5.616),(-50.356,3.615),(-50.47,1.608),(-50.498,0),(-50.47,-1.608),(-50.356,-3.615),(-50.155,-5.616),(-49.931,-7.208),(-49.573,-9.187),(-49.03,-11.537),(-48.485,-13.472),(-47.719,-15.76)],
  [(-48.478,-16.035),(-49.136,-14.099),(-49.709,-12.135),(-50.195,-10.148),(-50.593,-8.142),(-50.904,-6.12),(-51.128,-4.086),(-51.262,-2.045),(-51.306,0),(-51.262,2.045),(-51.128,4.086),(-50.904,6.12),(-50.593,8.142),(-50.195,10.148),(-49.709,12.135),(-49.136,14.099),(-48.478,16.035),(-48.197,15.934),(-48.851,14.009),(-49.523,11.665),(-50.072,9.288),(-50.433,7.288),(-50.708,5.274),(-50.863,3.655),(-50.979,1.626),(-51.007,0),(-50.979,-1.626),(-50.863,-3.655),(-50.708,-5.274),(-50.433,-7.288),(-50.072,-9.288),(-49.523,-11.665),(-48.851,-14.009),(-48.197,-15.934)],
  [(-48.965,-16.212),(-49.629,-14.255),(-50.208,-12.269),(-50.7,-10.26),(-51.102,-8.231),(-51.417,-6.188),(-51.643,-4.132),(-51.778,-2.067),(-51.823,0),(-51.778,2.067),(-51.643,4.132),(-51.417,6.188),(-51.102,8.231),(-50.7,10.26),(-50.208,12.269),(-49.629,14.255),(-48.965,16.212),(-48.677,16.108),(-49.337,14.163),(-50.017,11.792),(-50.488,9.792),(-50.937,7.368),(-51.166,5.74),(-51.372,3.695),(-51.472,2.054),(-51.517,0),(-51.472,-2.054),(-51.372,-3.695),(-51.166,-5.74),(-50.937,-7.368),(-50.488,-9.792),(-50.017,-11.792),(-49.337,-14.163),(-48.677,-16.108)],
  [(-49.452,-16.389),(-50.123,-14.41),(-50.708,-12.403),(-51.205,-10.372),(-51.613,-8.321),(-51.931,-6.255),(-52.159,-4.176),(-52.296,-2.091),(-52.341,0),(-52.296,2.091),(-52.159,4.176),(-51.931,6.255),(-51.613,8.321),(-51.205,10.372),(-50.708,12.403),(-50.123,14.41),(-49.452,16.389),(-49.157,16.283),(-49.948,13.92),(-50.512,11.92),(-50.988,9.898),(-51.442,7.448),(-51.722,5.389),(-51.881,3.735),(-51.983,2.077),(-52.028,0),(-51.983,-2.077),(-51.881,-3.735),(-51.722,-5.389),(-51.442,-7.448),(-50.988,-9.898),(-50.512,-11.92),(-49.948,-13.92),(-49.157,-16.283)],
  [(-49.94,-16.567),(-50.619,-14.566),(-51.21,-12.538),(-51.712,-10.484),(-52.125,-8.412),(-52.446,-6.323),(-52.677,-4.222),(-52.815,-2.113),(-52.861,0),(-52.815,2.113),(-52.677,4.222),(-52.446,6.323),(-52.125,8.412),(-51.712,10.484),(-51.21,12.538),(-50.619,14.566),(-49.94,16.567),(-49.638,16.458),(-50.313,14.47),(-51.007,12.049),(-51.574,9.594),(-51.948,7.528),(-52.231,5.447),(-52.392,3.776),(-52.511,1.679),(-52.54,0),(-52.511,-1.679),(-52.392,-3.776),(-52.231,-5.447),(-51.948,-7.528),(-51.574,-9.594),(-51.007,-12.049),(-50.313,-14.47),(-49.638,-16.458)],
  [(-50.43,-16.745),(-51.116,-14.723),(-51.714,-12.673),(-52.221,-10.598),(-52.638,-8.502),(-52.963,-6.39),(-53.196,-4.268),(-53.336,-2.135),(-53.382,0),(-53.336,2.135),(-53.196,4.268),(-52.963,6.39),(-52.638,8.502),(-52.221,10.598),(-51.714,12.673),(-51.116,14.723),(-50.43,16.745),(-50.121,16.634),(-50.803,14.625),(-51.505,12.177),(-52.078,9.696),(-52.455,7.608),(-52.741,5.506),(-52.904,3.816),(-53.008,2.121),(-53.054,0),(-53.008,-2.121),(-52.904,-3.816),(-52.741,-5.506),(-52.455,-7.608),(-52.078,-9.696),(-51.505,-12.177),(-50.803,-14.625),(-50.121,-16.634)],
  [(-50.92,-16.923),(-51.613,-14.881),(-52.218,-12.808),(-52.731,-10.711),(-53.152,-8.593),(-53.481,-6.459),(-53.716,-4.313),(-53.857,-2.158),(-53.904,0),(-53.857,2.158),(-53.716,4.313),(-53.481,6.459),(-53.152,8.593),(-52.731,10.711),(-52.218,12.808),(-51.613,14.881),(-50.92,16.923),(-50.605,16.81),(-51.294,14.78),(-52.003,12.306),(-52.495,10.219),(-52.964,7.689),(-53.203,5.99),(-53.417,3.856),(-53.539,1.715),(-53.569,0),(-53.539,-1.715),(-53.417,-3.856),(-53.203,-5.99),(-52.964,-7.689),(-52.495,-10.219),(-52.003,-12.306),(-51.294,-14.78),(-50.605,-16.81)])

lib.write_gds('SOI220_oband_TE_rib_apodized_GC_focusing_EBL_v1p0.gds')
